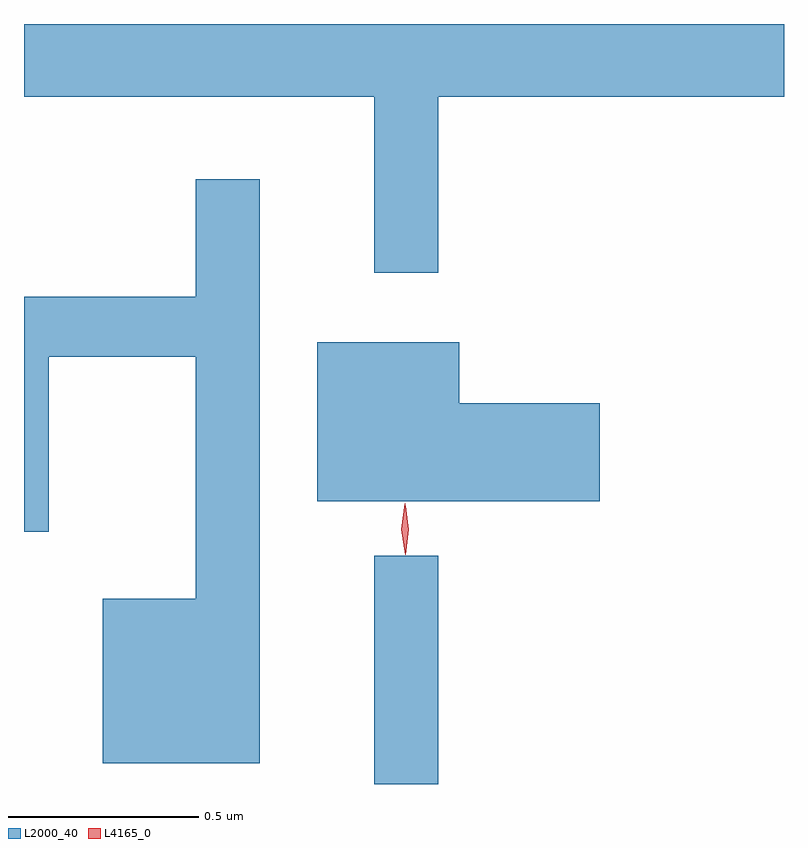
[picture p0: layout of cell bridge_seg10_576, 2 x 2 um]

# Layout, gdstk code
import gdstk
lib = gdstk.Library(unit=1e-6, precision=1e-09)
def R(c, l, rs):  # rectangles x0, y0, x1, y1
    for r in rs: c.add(gdstk.rectangle(r[:2], r[2:], *l))
def P(c, l, *ps):  # polygons
    for p in ps: c.add(gdstk.Polygon(p, *l))
L2000_40 = (2000, 40)
L4165_0 = (4165, 0)

bridge_seg10_576 = lib.new_cell('bridge_seg10_576')
R(bridge_seg10_576, L2000_40, [(819.851,2163.167,820.019,2163.768)])
P(bridge_seg10_576, L2000_40, [(820.019,2164.976),(820.929,2164.976),(820.929,2165.167),(818.929,2165.167),(818.929,2164.976),(819.851,2164.976),(819.851,2164.513),(820.019,2164.513)],
  [(819.549,2164.758),(819.381,2164.758),(819.381,2164.449),(818.929,2164.449),(818.929,2163.831),(818.994,2163.831),(818.994,2164.291),(819.381,2164.291),(819.381,2163.654),(819.136,2163.654),(819.136,2163.221),(819.549,2163.221)],
  [(820.444,2164.169),(820.074,2164.169),(820.074,2164.329),(819.701,2164.329),(819.701,2163.911),(820.444,2163.911)])
P(bridge_seg10_576, L4165_0, [(819.932,2163.77),(819.922,2163.838),(819.931,2163.905),(819.932,2163.906),(819.932,2163.905),(819.942,2163.838),(819.933,2163.77),(819.933,2163.77)],
  [(819.933,2163.773),(819.932,2163.774),(819.922,2163.836),(819.932,2163.899),(819.932,2163.9),(819.933,2163.899),(819.942,2163.836),(819.933,2163.774)])

lib.write_gds('bridge_seg10_576.gds')
